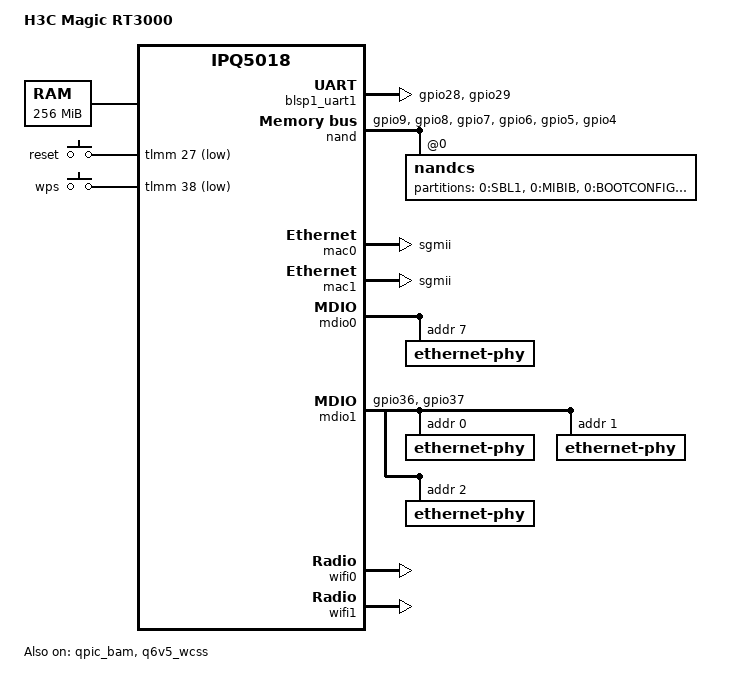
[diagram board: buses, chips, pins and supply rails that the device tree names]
// SPDX-License-Identifier: GPL-2.0-or-later OR MIT
/*
 * H3C Magic RT3000 (PCB: H3C AX3000-D VER.A)
 *
 * G11-P2 device delta on top of the Redmi AX3000 (ipq5000-ax3000.dts) donor,
 * ported to the QSDK 11.5 multi-PD ath11k contract.
 *
 * Hardware truth sources (no guessing):
 *  - qca/src/linux-5.4/arch/arm64/boot/dts/qcom/ipq5018-h3c-rt3000.dts
 *    in the frozen RT3000-QSDK12.5-oxalpha-20260824 tree: runtime-validated
 *    G4 wired baseline + OEM FDT extraction (buttons, switch reset GPIO39,
 *    ar8327 initvals, LAN bmp 0x1c, PD boot-args tuples, board_id 0x23/0x90,
 *    full NAND fixed-partition table).
 *  - ART/caldata offsets 0x1000 / 0x26800 len 0x20000 (12.5 S3 audit),
 *    identical to the donor hotplug values.
 *
 * Scope (P2): kernel boot, NAND, ethernet, NSS DP. WiFi nodes are carried
 * at donor-equivalent bring-up level but are not a P2 gate.
 * LEDs are intentionally ABSENT: no verified GPIO map exists (frozen docs
 * list LED10/LED9 as UNRESOLVED). Buttons use OEM-extracted GPIOs.
 */

/dts-v1/;

#include "ipq5018.dtsi"
#include <dt-bindings/gpio/gpio.h>
#include <dt-bindings/input/linux-event-codes.h>

/ {
	model = "H3C Magic RT3000";
	compatible = "h3c,rt3000", "qcom,ipq5018";

	#address-cells = <2>;
	#size-cells = <2>;
	interrupt-parent = <&intc>;

	aliases {
		serial0 = &blsp1_uart1;

		ethernet0 = &mac0;
		ethernet1 = &mac1;
	};

	chosen {
		bootargs-append = " coherent_pool=2M loglevel=7 mtdparts=qcom_nand.0:0x80000@0(0:SBL1)ro,0x80000@0x80000(0:MIBIB)ro,0x40000@0x100000(0:BOOTCONFIG),0x40000@0x140000(0:BOOTCONFIG1),0x100000@0x180000(0:QSEE)ro,0x100000@0x280000(0:QSEE_1)ro,0x40000@0x380000(0:DEVCFG)ro,0x40000@0x3c0000(0:DEVCFG_1)ro,0x40000@0x400000(0:CDT)ro,0x40000@0x440000(0:CDT_1)ro,0x80000@0x480000(0:APPSBLENV)ro,0x140000@0x500000(0:APPSBL)ro,0x140000@0x640000(0:APPSBL_1)ro,0x100000@0x780000(0:ART)ro,0x80000@0x880000(0:TRAINING)ro,0x2800000@0x900000(oem_rootfs)ro,0x2800000@0x3100000(rootfs),0x600000@0x5900000(pdt_data)ro,0x600000@0x5f00000(pdt_data_1)ro,0x100000@0x6500000(exp)ro,0x1700000@0x6600000(plugin)ro ubi.block=0,1 root=/dev/ubiblock0_1";
		stdout-path = "serial0:115200n8";
	};

	/* RT3000 has 256 MiB DDR3L (OEM truth); state it explicitly so a RAM
	 * FIT is independent of what OEM U-Boot passes in the FDT. */
	memory {
		device_type = "memory";
		reg = <0x0 0x40000000 0x0 0x10000000>;
	};

	reserved-memory {
		q6_mem_regions: q6_mem_regions@4b000000 {
			no-map;
#ifndef CONFIG_ATH11K_MEM_PROFILE_256M
			reg = <0x0 0x4b000000 0x0 0x3b00000>;
#else
			reg = <0x0 0x4b000000 0x0 0x3000000>;
#endif
		};
	};
};

&tmc_etr {
	/delete-property/ memory-region;
};

&tlmm {
	blsp_uart0_pins: blsp_uart0_pins {
		pins =
			"gpio28", // RX
			"gpio29"; // TX
		function = "blsp0_uart1";
		drive-strength = <8>;
		bias-disable;
	};

	qspi_nand_pins: qspi_nand_pins {
		clock {
			pins = "gpio9";
			function = "qspi_clk";
			drive-strength = <8>;
			bias-disable;
		};

		cs {
			pins = "gpio8";
			function = "qspi_cs";
			drive-strength = <8>;
			bias-disable;
		};

		data {
			pins = "gpio7", "gpio6", "gpio5", "gpio4";
			function = "qspi_data";
			drive-strength = <8>;
			bias-disable;
		};
	};

	button_pins: button_pins {
		button_reset {
			pins = "gpio27";
			function = "gpio";
			drive-strength = <8>;
			bias-pull-up;
		};

		button_wps {
			pins = "gpio38";
			function = "gpio";
			drive-strength = <8>;
			bias-pull-up;
		};
	};

	/* MDIO1 (to the external QCA8337).  Without this pinmux the bus
	 * cannot clock and every mdio@90000 transaction returns 0x0000.
	 * Values are from the QSDK reference board DTS. */
	mdio1_pins: mdio1_pins {
		mux_0 {
			pins = "gpio36";
			function = "mdc";
			drive-strength = <8>;
			bias-pull-up;
		};

		mux_1 {
			pins = "gpio37";
			function = "mdio";
			drive-strength = <8>;
			bias-pull-up;
		};
	};
};

&blsp1_uart1 {
	pinctrl-0 = <&blsp_uart0_pins>;
	pinctrl-names = "default";
	status = "ok";
};

&qpic_bam {
	status = "ok";
};

&nand {
	pinctrl-0 = <&qspi_nand_pins>;
	pinctrl-names = "default";
	status = "ok";

	nandcs@0 {
		partitions {
			compatible = "fixed-partitions";
			#address-cells = <1>;
			#size-cells = <1>;

			partition@0 {
				label = "0:SBL1";
				reg = <0x000000 0x080000>;
				read-only;
			};
			partition@80000 {
				label = "0:MIBIB";
				reg = <0x080000 0x080000>;
				read-only;
			};
			partition@100000 {
				label = "0:BOOTCONFIG";
				reg = <0x100000 0x040000>;
				read-only;
			};
			partition@140000 {
				label = "0:BOOTCONFIG1";
				reg = <0x140000 0x040000>;
				read-only;
			};
			partition@180000 {
				label = "0:QSEE";
				reg = <0x180000 0x100000>;
				read-only;
			};
			partition@280000 {
				label = "0:QSEE_1";
				reg = <0x280000 0x100000>;
				read-only;
			};
			partition@380000 {
				label = "0:DEVCFG";
				reg = <0x380000 0x040000>;
				read-only;
			};
			partition@3c0000 {
				label = "0:DEVCFG_1";
				reg = <0x3c0000 0x040000>;
				read-only;
			};
			partition@400000 {
				label = "0:CDT";
				reg = <0x400000 0x040000>;
				read-only;
			};
			partition@440000 {
				label = "0:CDT_1";
				reg = <0x440000 0x040000>;
				read-only;
			};
			partition@480000 {
				label = "0:APPSBLENV";
				reg = <0x480000 0x080000>;
				read-only;
			};
			partition@500000 {
				label = "0:APPSBL";
				reg = <0x500000 0x140000>;
				read-only;
			};
			partition@640000 {
				label = "0:APPSBL_1";
				reg = <0x640000 0x140000>;
				read-only;
			};
			partition@780000 {
				label = "0:ART";
				reg = <0x780000 0x100000>;
				read-only;
			};
			partition@880000 {
				label = "0:TRAINING";
				reg = <0x880000 0x080000>;
				read-only;
			};
			partition@900000 {
				label = "rootfs";
				reg = <0x900000 0x02800000>;
				read-only;
			};
			partition@3100000 {
				label = "rootfs_1";
				reg = <0x3100000 0x02800000>;
				read-only;
			};
			partition@5900000 {
				label = "pdt_data";
				reg = <0x5900000 0x00600000>;
				read-only;
			};
			partition@5f00000 {
				label = "pdt_data_1";
				reg = <0x5f00000 0x00600000>;
				read-only;
			};
			partition@6500000 {
				label = "exp";
				reg = <0x6500000 0x00100000>;
				read-only;
			};
			partition@6600000 {
				label = "plugin";
				reg = <0x6600000 0x01700000>;
				read-only;
			};
		};
	};
};

&soc {
	gpio_keys {
		compatible = "gpio-keys";
		pinctrl-0 = <&button_pins>;
		pinctrl-names = "default";

		button_reset {
			label = "reset";
			gpios = <&tlmm 27 GPIO_ACTIVE_LOW>;
			linux,input-type = <EV_KEY>;
			linux,code = <KEY_RESTART>;
			debounce-interval = <60>;
		};

		button_wps {
			label = "wps";
			gpios = <&tlmm 38 GPIO_ACTIVE_LOW>;
			linux,input-type = <EV_KEY>;
			linux,code = <KEY_WPS_BUTTON>;
			debounce-interval = <60>;
		};
	};

	ess-instance {
		num_devices = <2>;

		/* Internal ESS (MAC0 side): WAN path via IPQ5018 GE PHY addr 7,
		 * MAC1 side forced to the QCA8337 SerDes. OEM-extracted values. */
		ess-switch@0x39c00000 {
			compatible = "qcom,ess-switch-ipq50xx";
			device_id = <0>;

			cmnblk_clk = "internal_96MHz";
			switch_mac_mode = <0xf>; /* PORT_WRAPPER_SGMII_CHANNEL0 */

			qcom,port_phyinfo {
				port@0 {
					port_id = <1>;

					mdiobus = <&mdio0>;
					phy_address = <7>;
				};

				port@1 {
					port_id = <2>;

					forced-speed = <1000>;
					forced-duplex = <1>;
				};
			};
		};

		/* External QCA8337 (Machine-B hardware-validated live DTB):
		 * chip 0x1302, MDIO access, reset GPIO26 (AR8337 switch reset on B),
		 * CPU bmp 0x40 (port6), LAN bmp 0x1e (ports 1,2,3,4 - all LAN active),
		 * WAN bmp 0x0 (WAN jack rides the internal PHY path).
		 * qcom,port_phyinfo intentionally omitted: AR8337 LAN PHYs are
		 * managed by SSDK direct MDIO access (FIX-F1, frozen evidence). */
		ess-switch1@1 {
			compatible = "qcom,ess-switch-qca83xx";
			device_id = <1>;

			switch_access_mode = "mdio";
			mdio-bus = <&mdio1>;

			reset_gpio = <&tlmm 26 0>;

			qca,ar8327-initvals = <
				0x00004 0x7600000   /* PAD0_MODE */
				0x00008 0x1000000   /* PAD5_MODE */
				0x0000c 0x80        /* PAD6_MODE */
				0x00010 0x2613a0    /* PORT6 FORCE MODE */
				0x000e4 0xaa545     /* MAC_POWER_SEL */
				0x000e0 0xc74164de  /* SGMII_CTRL */
				0x0007c 0x4e        /* PORT0_STATUS */
				0x00094 0x4e        /* PORT6_STATUS */
			>;

			switch_cpu_bmp = <0x40>;
			switch_lan_bmp = <0x1e>;
			switch_wan_bmp = <0x0>;

			/* LAN PHYs live on the external switch: port_id 1-4 map to
			 * PHY addresses 0-3 on mdio1 (QSDK reference board DTS). */
			qcom,port_phyinfo {
				port@0 {
					port_id = <1>;
					phy_address = <0>;
				};

				port@1 {
					port_id = <2>;
					phy_address = <1>;
				};

				port@2 {
					port_id = <3>;
					phy_address = <2>;
				};

				port@3 {
					port_id = <4>;
					phy_address = <3>;
				};
			};
		};
	};

	/* WAN: MAC0 -> internal GE PHY (addr 7 on mdio0) -> QCA8337 phy4/port5 */
	mac0: dp1 {
		compatible = "qcom,nss-dp";
		device_type = "network";
		qcom,id = <1>;

		reg = <0x39C00000 0x10000>;
		interrupts = <GIC_SPI 101 IRQ_TYPE_LEVEL_HIGH>;
		clocks = <&gcc GCC_SNOC_GMAC0_AXI_CLK>;
		clock-names = "nss-snoc-gmac-axi-clk";

		qcom,mactype = <2>; // GMAC_HAL_TYPE_SYN_GMAC
		local-mac-address = [000000000000];
		mdio-bus = <&mdio0>;
		qcom,phy-mdio-addr = <7>;
		phy-mode = "sgmii";
		qcom,rx-page-mode = <0>;
	};

	/* LAN/CPU path: MAC1 ---SGMII---> QCA8337 port6 */
	mac1: dp2 {
		compatible = "qcom,nss-dp";
		device_type = "network";
		qcom,id = <2>;

		reg = <0x39D00000 0x10000>;
		interrupts = <GIC_SPI 109 IRQ_TYPE_LEVEL_HIGH>;
		clocks = <&gcc GCC_SNOC_GMAC1_AXI_CLK>;
		clock-names = "nss-snoc-gmac-axi-clk";

		qcom,mactype = <2>; // GMAC_HAL_TYPE_SYN_GMAC
		local-mac-address = [000000000000];
		phy-mode = "sgmii";
		qcom,rx-page-mode = <0>;
	};
};

&mdio0 {
	status = "ok";

	// IPQ5018 GE Phy (addr 7) -> QCA8337 Phy4
	ethernet-phy@0 {
		reg = <7>;
	};
};

&mdio1 {
	status = "ok";
	pinctrl-0 = <&mdio1_pins>;
	pinctrl-names = "default";

	/* External QCA8337 reset.  The qca-mdio driver (mdio-qca.c) consumes
	 * this in qca_phy_reset(), driven BEFORE of_mdiobus_register():
	 *   gpio_direction_output(gpio, 0)  -> assert  (100ms)
	 *   gpio_set_value(gpio, 1)         -> release (100ms)
	 * Value and GPIO number are taken from the Machine-B OEM working DTB
	 * (/proc/device-tree/soc/mdio@90000/phy-reset-gpio = <&tlmm 26 0>). */
	phy-reset-gpio = <&tlmm 26 0>;

	/* Three external PHYs, matching the OEM working device tree
	 * (ethernet-phy@0, @1, @2) and the driver's QCA_MAX_PHY_RESET limit. */
	ethernet-phy@0 {
		reg = <0>;
	};

	ethernet-phy@1 {
		reg = <1>;
	};

	ethernet-phy@2 {
		reg = <2>;
	};
};

&q6v5_wcss {
	compatible = "qcom,ipq5018-q6-mpd";
	#address-cells = <1>;
	#size-cells = <1>;
	ranges;

	resets =
		<&gcc GCC_WCSSAON_RESET>,
		<&gcc GCC_WCSS_Q6_BCR>;
	reset-names =
		"wcss_aon_reset",
		"wcss_q6_reset";

	clocks =
		<&gcc GCC_Q6_AXIS_CLK>,
		<&gcc GCC_WCSS_ECAHB_CLK>,
		<&gcc GCC_Q6_AXIM_CLK>,
		<&gcc GCC_Q6_AXIM2_CLK>,
		<&gcc GCC_Q6_AHB_CLK>,
		<&gcc GCC_Q6_AHB_S_CLK>,
		<&gcc GCC_WCSS_AXI_S_CLK>;
	clock-names =
		"gcc_q6_axis_clk",
		"gcc_wcss_ecahb_clk",
		"gcc_q6_axim_clk",
		"gcc_q6_axim2_clk",
		"gcc_q6_ahb_clk",
		"gcc_q6_ahb_s_clk",
		"gcc_wcss_axi_s_clk";

	reg =
		<0x0cd00000 0x4040>,
		<0x1938000 0x8>,
		<0x193d204 0x4>;
	reg-names =
		"qdsp6",
		"tcsr-msip",
		"tcsr-q6";

	memory-region = <&q6_mem_regions>;

	qcom,rproc = <&q6v5_wcss>;
	firmware = "IPQ5018/q6_fw.mdt";

	qcom,bootargs_smem = <507>;
	/* OEM-extracted RT3000 UserPD boot-args (frozen ipq5018-h3c-rt3000.dts):
	 * {type 0x1, len 4, pd_id 3, gpio 0x0f}, {type 0x2(PCIE1), len 4,
	 *  pd_id 2, gpio 0x12} -- differs from the AX3000 donor wiring. */
	boot-args = <0x1 0x4 0x3 0x0f 0x0 0x0>,
		    <0x2 0x4 0x2 0x12 0x0 0x0>;

	status = "ok";

	// IPQ5018 internal 2.4G radio (AHB)
	q6_wcss_pd1: remoteproc_pd1@4ab000 {
		compatible = "qcom,ipq5018-wcss-ahb-mpd";

		resets =
			<&gcc GCC_WCSSAON_RESET>,
			<&gcc GCC_WCSS_BCR>,
			<&gcc GCC_CE_BCR>;
		reset-names =
			"wcss_aon_reset",
			"wcss_reset",
			"ce_reset";

		clocks =
			<&gcc GCC_WCSS_AHB_S_CLK>,
			<&gcc GCC_WCSS_ACMT_CLK>,
			<&gcc GCC_WCSS_AXI_M_CLK>;
		clock-names =
			"gcc_wcss_ahb_s_clk",
			"gcc_wcss_acmt_clk",
			"gcc_wcss_axi_m_clk";

		reg = <0x4ab000 0x20>;
		reg-names = "rmb";

		qcom,halt-regs = <&tcsr_q6_block 0xa000 0xd000 0x0>;

		interrupts-extended =
			<&wcss_smp2p_in 8 0>,
			<&wcss_smp2p_in 9 0>,
			<&wcss_smp2p_in 12 0>,
			<&wcss_smp2p_in 11 0>;
		interrupt-names =
			"fatal",
			"ready",
			"spawn-ack",
			"stop-ack";

		qcom,smem-states =
			<&wcss_smp2p_out 8>,
			<&wcss_smp2p_out 9>,
			<&wcss_smp2p_out 10>;
		qcom,smem-state-names =
			"shutdown",
			"stop",
			"spawn";

		firmware = "IPQ5018/q6_fw.mdt";
		m3_firmware = "IPQ5018/m3_fw.mdt";
	};

	// QCN6102 physical radio on PCIe1 (software family path: qcn6122)
	q6_wcss_pd2: remoteproc_pd2 {
		compatible = "qcom,ipq5018-wcss-pcie-mpd";

		interrupts-extended =
			<&wcss_smp2p_in 16 0>,
			<&wcss_smp2p_in 17 0>,
			<&wcss_smp2p_in 20 0>,
			<&wcss_smp2p_in 19 0>;
		interrupt-names =
			"fatal",
			"ready",
			"spawn-ack",
			"stop-ack";

		qcom,smem-states =
			<&wcss_smp2p_out 16>,
			<&wcss_smp2p_out 17>,
			<&wcss_smp2p_out 18>;
		qcom,smem-state-names =
			"shutdown",
			"stop",
			"spawn";

		firmware = "IPQ5018/q6_fw.mdt";
		m3_firmware = "qcn6122/m3_fw.mdt";
	};
};

&wifi0 {
	// IPQ5018 internal 2.4G
	// Internal low-priority radio; external QCN6102 is the high-priority 5G radio.
	nss-radio-priority = <0>;
	qcom,multipd_arch;
	qcom,rproc = <&q6_wcss_pd1>;
	qcom,userpd-subsys-name = "q6v5_wcss_userpd1";

	// RT3000 OEM board_id (radio0)
	qcom,board_id = <0x23>;

	qcom,bdf-addr = <0x4c400000 0x4c400000 0x4c400000>;
	qcom,caldb-addr = <0x4d200000 0x4d200000 0>;
#ifndef CONFIG_ATH11K_MEM_PROFILE_256M
	m3-dump-addr = <0x4d400000>;
#else
	m3-dump-addr = <0>;
#endif

	status = "ok";
};

&wifi1 {
	// QCN6102 physical radio (software driver family: qcn6122)
	// External high-priority 5G radio; IPQ5018 internal radio is low priority.
	nss-radio-priority = <1>;
	qcom,multipd_arch;
	qcom,rproc = <&q6_wcss_pd2>;
	qcom,userpd-subsys-name = "q6v5_wcss_userpd2";

	// RT3000 OEM board_id (radio1)
	qcom,board_id = <0x90>;

	qcom,bdf-addr = <0x4d500000 0x4d500000 0x4d100000>;
	qcom,caldb-addr = <0x4e500000 0x4e500000 0>;
#ifndef CONFIG_ATH11K_MEM_PROFILE_256M
	m3-dump-addr = <0x4ea00000>;
#else
	m3-dump-addr = <0x4df00000>;
#endif

	status = "ok";
};

&wifi2 {
	status = "disabled";
};

&wifi3 {
	status = "disabled";
};
